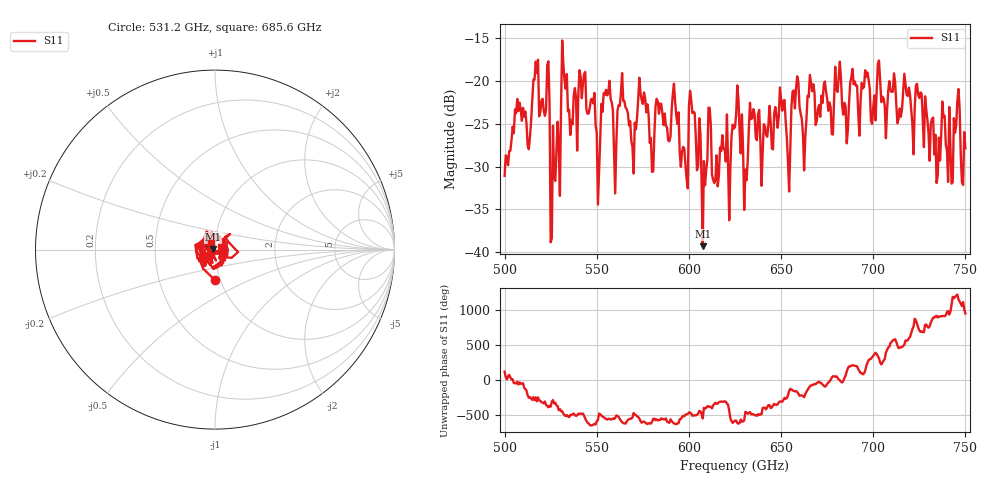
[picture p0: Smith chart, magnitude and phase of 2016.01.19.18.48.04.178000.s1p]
!Created with skrf (http://scikit-rf.org).
# GHz S RI R 50.0
!freq ReS11 ImS11
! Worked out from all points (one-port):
!   401 points, 500 GHz to 750 GHz, reference 50 ohm
!   lowest |S11| = -39.3 dB at 607.5 GHz (marker M1), VSWR 1.02, Z = 48.9 + j0.217 ohm
!   |S11| at or under -10 dB: start of sweep to end of sweep
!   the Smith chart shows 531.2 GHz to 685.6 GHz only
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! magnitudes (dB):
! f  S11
! 500 GHz  -31.1
! 506.9 GHz  -22.1
! 513.1 GHz  -28.0
! 516.9 GHz  -17.8
! 523.1 GHz  -18.2
! 526.2 GHz  -25.2
! 531.2 GHz  -15.3
! 542.5 GHz  -20.3
! 550.6 GHz  -34.4
! 553.8 GHz  -21.4
! 560 GHz  -33.1
! 562.5 GHz  -22.9
! 570 GHz  -30.8
! 574.4 GHz  -22.2
! 580 GHz  -30.6
! 593.8 GHz  -25.0
! 598.1 GHz  -29.9
! 601.9 GHz  -23.8
! 607.5 GHz  -39.3
! 625 GHz  -25.4
! 630.6 GHz  -30.3
! 634.4 GHz  -24.4
! 650.6 GHz  -23.5
! 653.8 GHz  -29.5
! 656.2 GHz  -21.2
! 687.5 GHz  -20.2
! 718.8 GHz  -21.8
! 750 GHz  -27.9
